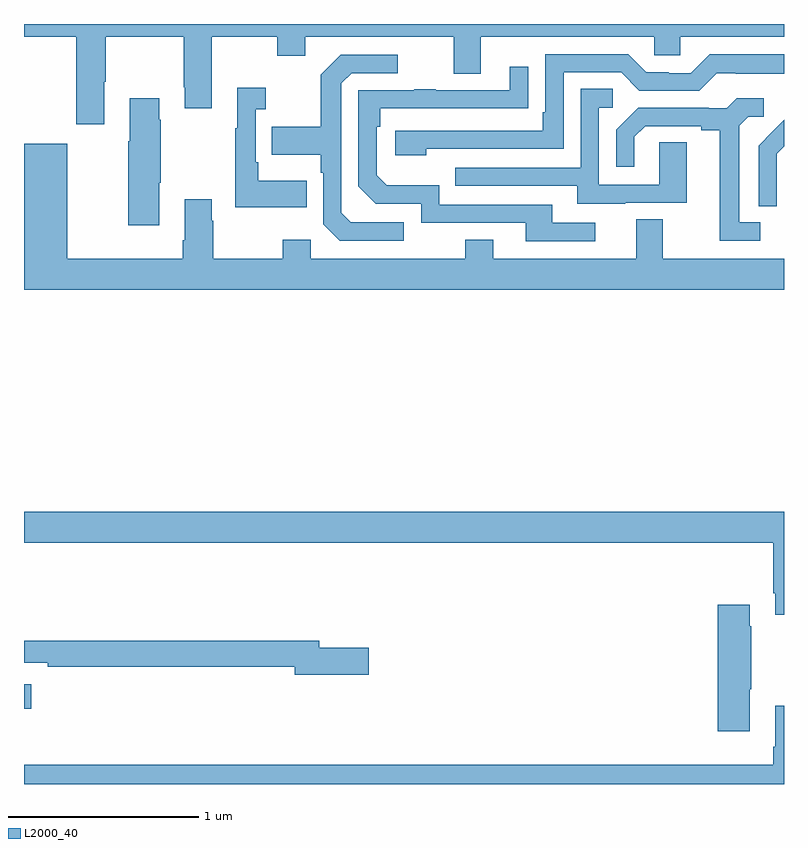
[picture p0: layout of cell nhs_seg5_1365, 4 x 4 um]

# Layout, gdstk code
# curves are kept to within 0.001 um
import gdstk
lib = gdstk.Library(unit=1e-6, precision=1e-09)
def R(c, l, rs):  # rectangles x0, y0, x1, y1
    for r in rs: c.add(gdstk.rectangle(r[:2], r[2:], *l))
def P(c, l, *ps):  # polygons
    for p in ps: c.add(gdstk.Polygon(p, *l))
L2000_40 = (2000, 40)

nhs_seg5_1365 = lib.new_cell('nhs_seg5_1365')
R(nhs_seg5_1365, L2000_40, [(193,881.194,193.039,881.323)])
P(nhs_seg5_1365, L2000_40, [(193.423,884.494),(193.431,884.494),(193.431,884.732),(193.84,884.732),(193.84,884.467),(193.847,884.467),(193.847,884.355),(193.987,884.355),(193.987,884.732),(194.332,884.732),(194.332,884.633),(194.479,884.633),(194.479,884.732),(195.263,884.732),(195.263,884.538),(195.403,884.538),(195.403,884.732),(196.317,884.732),(196.317,884.634),(196.455,884.634),(196.455,884.732),(197,884.732),(197,884.799),(193,884.799),(193,884.732),(193.276,884.732),(193.276,884.271),(193.423,884.271)],
  [(195.116,884.142),(195.84,884.142),(195.84,884.544),(196.143,884.544),(196.239,884.448),(196.554,884.448),(196.647,884.541),(196.747,884.541),(196.747,884.537),(197,884.537),(197,884.641),(196.609,884.641),(196.509,884.541),(196.394,884.541),(196.394,884.544),(196.275,884.544),(196.179,884.64),(195.744,884.64),(195.744,884.335),(195.731,884.335),(195.731,884.238),(194.955,884.238),(194.955,884.108),(195.116,884.108)],
  [(194.998,883.755),(194.721,883.755),(194.67,883.806),(194.67,884.487),(194.724,884.541),(194.968,884.541),(194.968,884.637),(194.667,884.637),(194.562,884.531),(194.562,884.259),(194.305,884.259),(194.305,884.111),(194.562,884.111),(194.562,884.015),(194.574,884.015),(194.574,883.746),(194.661,883.659),(194.998,883.659)],
  [(196.006,883.752),(195.781,883.752),(195.781,883.848),(195.186,883.848),(195.186,883.951),(194.909,883.951),(194.856,884.004),(194.856,884.258),(194.876,884.258),(194.876,884.355),(195.653,884.356),(195.653,884.575),(195.557,884.575),(195.557,884.451),(195.167,884.451),(195.167,884.456),(195.055,884.456),(195.055,884.451),(194.76,884.451),(194.76,883.944),(194.85,883.854),(195.09,883.854),(195.09,883.752),(195.641,883.752),(195.641,883.656),(196.006,883.656)],
  [(194.489,883.975),(194.233,883.975),(194.233,884.071),(194.22,884.071),(194.22,884.351),(194.272,884.351),(194.272,884.464),(194.123,884.464),(194.123,884.251),(194.112,884.251),(194.112,883.835),(194.489,883.835)],
  [(196.165,883.857),(196.489,883.857),(196.489,884.177),(196.344,884.177),(196.344,883.953),(196.026,883.953),(196.026,884.358),(196.099,884.358),(196.099,884.459),(195.93,884.459),(195.93,884.043),(195.271,884.043),(195.271,883.947),(195.911,883.947),(195.911,883.853),(196.165,883.853)],
  [(196.876,883.755),(196.765,883.755),(196.765,884.263),(196.812,884.31),(196.894,884.31),(196.894,884.407),(196.75,884.407),(196.698,884.355),(196.604,884.355),(196.604,884.358),(196.232,884.358),(196.116,884.242),(196.116,884.049),(196.213,884.049),(196.213,884.205),(196.27,884.262),(196.565,884.262),(196.565,884.24),(196.661,884.24),(196.661,883.659),(196.876,883.659)],
  [(193.711,883.963),(193.719,883.963),(193.719,884.294),(193.711,884.294),(193.711,884.407),(193.556,884.407),(193.556,884.183),(193.549,884.183),(193.549,883.74),(193.711,883.74)],
  [(196.962,883.994),(196.961,883.994),(196.961,884.117),(197,884.156),(197,884.294),(196.938,884.232),(196.939,884.231),(196.866,884.158),(196.866,883.84),(196.962,883.84)],
  [(197,883.564),(196.363,883.564),(196.363,883.772),(196.223,883.772),(196.223,883.564),(195.469,883.564),(195.469,883.663),(195.322,883.663),(195.322,883.564),(194.508,883.564),(194.508,883.663),(194.362,883.663),(194.362,883.564),(193.995,883.564),(193.995,883.763),(193.987,883.763),(193.987,883.876),(193.847,883.876),(193.847,883.66),(193.835,883.66),(193.835,883.564),(193.228,883.564),(193.228,884.17),(193,884.17),(193,883.4),(197,883.4)],
  [(197,882.232),(193,882.232),(193,882.068),(196.943,882.068),(196.943,881.803),(196.955,881.803),(196.955,881.691),(197,881.691)],
  [(196.819,881.299),(196.827,881.299),(196.827,881.63),(196.819,881.63),(196.819,881.743),(196.652,881.743),(196.652,881.076),(196.819,881.076)],
  [(194.815,881.516),(194.554,881.516),(194.554,881.552),(193,881.552),(193,881.436),(193.126,881.436),(193.126,881.416),(194.426,881.416),(194.426,881.374),(194.815,881.374)],
  [(197,881.212),(196.955,881.212),(196.955,880.996),(196.943,880.996),(196.943,880.9),(193,880.9),(193,880.799),(197,880.799)])

lib.write_gds('nhs_seg5_1365.gds')
